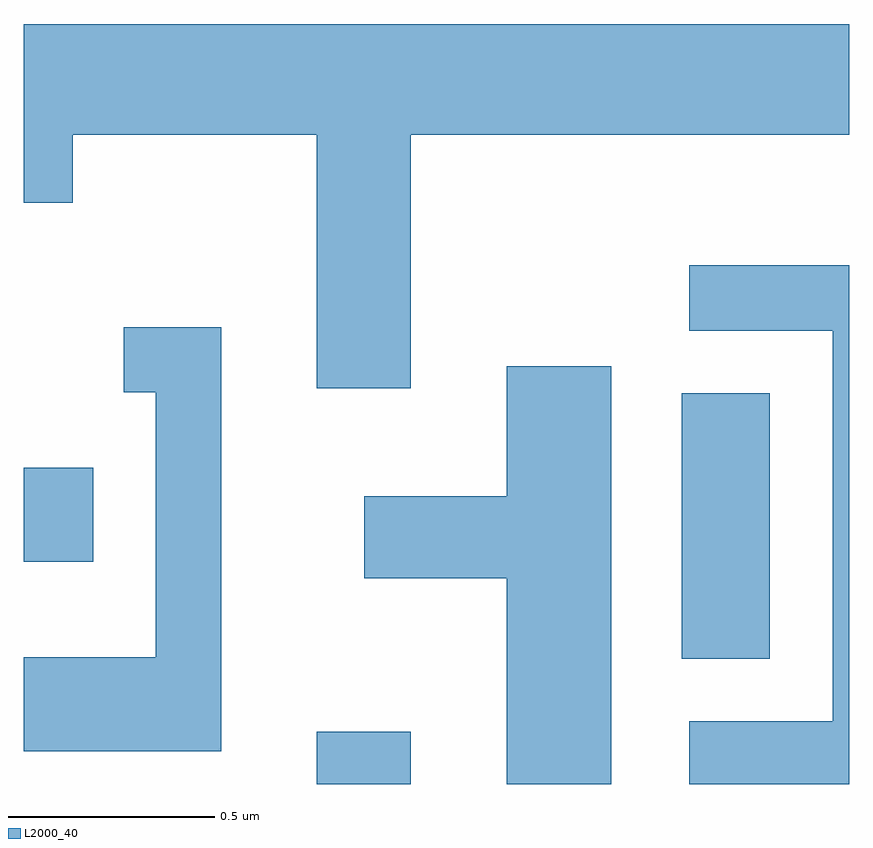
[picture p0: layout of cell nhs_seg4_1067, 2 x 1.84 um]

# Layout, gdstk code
import gdstk
lib = gdstk.Library(unit=1e-6, precision=1e-09)
def R(c, l, rs):  # rectangles x0, y0, x1, y1
    for r in rs: c.add(gdstk.rectangle(r[:2], r[2:], *l))
def P(c, l, *ps):  # polygons
    for p in ps: c.add(gdstk.Polygon(p, *l))
L2000_40 = (2000, 40)

nhs_seg4_1067 = lib.new_cell('nhs_seg4_1067')
R(nhs_seg4_1067, L2000_40, [(193.321,1361.982,193.549,1362.109), (194.206,1362.286,194.419,1362.929), (192.611,1362.521,192.779,1362.749)])
P(nhs_seg4_1067, L2000_40, [(193.549,1363.556),(194.611,1363.556),(194.611,1363.824),(192.611,1363.824),(192.611,1363.391),(192.729,1363.391),(192.729,1363.556),(193.321,1363.556),(193.321,1362.941),(193.549,1362.941)],
  [(194.611,1363.239),(194.223,1363.239),(194.223,1363.081),(194.571,1363.081),(194.571,1362.134),(194.223,1362.134),(194.223,1361.982),(194.611,1361.982)],
  [(193.089,1363.089),(192.853,1363.089),(192.853,1362.931),(192.931,1362.931),(192.931,1362.289),(192.611,1362.289),(192.611,1362.061),(193.089,1362.061)],
  [(194.034,1362.994),(193.781,1362.994),(193.781,1362.679),(193.436,1362.679),(193.436,1362.481),(193.781,1362.481),(193.781,1361.982),(194.034,1361.982)])

lib.write_gds('nhs_seg4_1067.gds')
